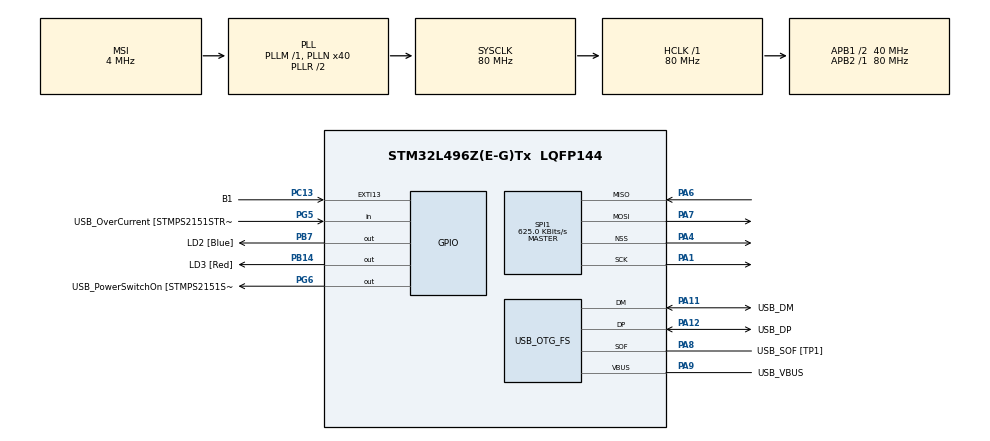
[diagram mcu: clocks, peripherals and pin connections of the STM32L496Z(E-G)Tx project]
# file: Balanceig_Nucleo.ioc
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Mcu.Family=STM32L4
Mcu.Name=STM32L496Z(E-G)Tx
Mcu.Package=LQFP144
NVIC.PriorityGroup=NVIC_PRIORITYGROUP_4
PA1.Mode=Full_Duplex_Master
PA1.Signal=SPI1_SCK
PA10.GPIO_Label=USB_ID
PA10.Signal=USB_OTG_FS_ID
PA11.GPIO_Label=USB_DM
PA11.Mode=Device_Only
PA11.Signal=USB_OTG_FS_DM
PA12.GPIO_Label=USB_DP
PA12.Mode=Device_Only
PA12.Signal=USB_OTG_FS_DP
PA13\ (JTMS/SWDIO).GPIO_Label=TMS
PA13\ (JTMS/SWDIO).Mode=Trace_Asynchronous_SW
PA13\ (JTMS/SWDIO).Signal=SYS_JTMS-SWDIO
PA14\ (JTCK/SWCLK).GPIO_Label=TCK
PA14\ (JTCK/SWCLK).Mode=Trace_Asynchronous_SW
PA14\ (JTCK/SWCLK).Signal=SYS_JTCK-SWCLK
PA4.Mode=NSS_Signal_Hard_Output
PA4.Signal=SPI1_NSS
PA6.Mode=Full_Duplex_Master
PA6.Signal=SPI1_MISO
PA7.Mode=Full_Duplex_Master
PA7.Signal=SPI1_MOSI
PA8.GPIO_Label=USB_SOF [TP1]
PA8.Mode=Activate_SOF_FS
PA8.Signal=USB_OTG_FS_SOF
PA9.GPIO_Label=USB_VBUS
PA9.Mode=Activate_VBUS
PA9.Signal=USB_OTG_FS_VBUS
PB14.GPIO_Label=LD3 [Red]
PB14.Signal=GPIO_Output
PB3\ (JTDO/TRACESWO).GPIO_Label=SWO
PB3\ (JTDO/TRACESWO).Mode=Trace_Asynchronous_SW
PB3\ (JTDO/TRACESWO).Signal=SYS_JTDO-SWO
PB7.GPIO_Label=LD2 [Blue]
PB7.Signal=GPIO_Output
PC13.GPIO_Label=B1
PC13.Signal=GPXTI13
PC14-OSC32_IN\ (PC14).Mode=LSE-External-Oscillator
PC14-OSC32_IN\ (PC14).Signal=RCC_OSC32_IN
PC15-OSC32_OUT\ (PC15).Mode=LSE-External-Oscillator
PC15-OSC32_OUT\ (PC15).Signal=RCC_OSC32_OUT
PG5.GPIO_Label=USB_OverCurrent [STMPS2151STR_FAULT]
PG5.Signal=GPIO_Input
PG6.GPIO_Label=USB_PowerSwitchOn [STMPS2151STR_EN]
PG6.Signal=GPIO_Output
PG7.GPIO_Label=STLK_RX [STM32F103CBT6_PA3]
PG7.Signal=LPUART1_TX
PG8.GPIO_Label=STLK_TX [STM32F103CBT6_PA2]
PG8.Signal=LPUART1_RX
PH1-OSC_OUT\ (PH1).Signal=RCC_OSC_OUT
ProjectManager.HeapSize=0x200
ProjectManager.StackSize=0x400
ProjectManager.TargetToolchain=STM32CubeIDE
RCC.48MHZClocksFreq_Value=24000000
RCC.ADCFreq_Value=48000000
RCC.AHBFreq_Value=80000000
RCC.APB1CLKDivider=RCC_HCLK_DIV2
RCC.APB1Freq_Value=40000000
RCC.APB1TimFreq_Value=80000000
RCC.APB2Freq_Value=80000000
RCC.APB2TimFreq_Value=80000000
RCC.CortexFreq_Value=80000000
RCC.HCLKFreq_Value=80000000
RCC.HSE_VALUE=8000000
RCC.HSI48_VALUE=48000000
RCC.HSI_VALUE=16000000
RCC.MSI_VALUE=4000000
RCC.PLLMUL=RCC_PLL_MUL9
RCC.PLLN=40
RCC.PLLSAI1N=24
RCC.PRESCALERUSB=RCC_USBCLKSOURCE_PLL_DIV1_5
RCC.SYSCLKFreq_VALUE=80000000
RCC.SYSCLKSource=RCC_SYSCLKSOURCE_PLLCLK
RCC.SYSCLKSourceVirtual=RCC_SYSCLKSOURCE_PLLCLK
RCC.USBFreq_Value=48000000
RCC.VCOOutputFreq_Value=160000000
SPI1.BaudRatePrescaler=SPI_BAUDRATEPRESCALER_128
SPI1.CalculateBaudRate=625.0 KBits/s
SPI1.DataSize=SPI_DATASIZE_8BIT
SPI1.Direction=SPI_DIRECTION_2LINES
SPI1.Mode=SPI_MODE_MASTER
SPI1.VirtualNSS=VM_NSSHARD
SPI1.VirtualType=VM_MASTER
TIM1.Prescaler=80-1
USB_OTG_FS.VirtualMode=Device_Only
VP_TIM1_VS_ClockSourceINT.Mode=Internal
board=NUCLEO-L496ZG

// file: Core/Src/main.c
/* USER CODE BEGIN Header */
/**
  ******************************************************************************
  * @file           : main.c
  * @brief          : Main program body
  ******************************************************************************
  * @attention
  *
  * Copyright (c) 2024 STMicroelectronics.
  * All rights reserved.
  *
  * This software is licensed under terms that can be found in the LICENSE file
  * in the root directory of this software component.
  * If no LICENSE file comes with this software, it is provided AS-IS.
  *
  ******************************************************************************
  */
/* USER CODE END Header */
#include "main.h"

/* USER CODE BEGIN Includes */
#include "LTC6811-1_eTechRacing.h"
#include "eTechRacing.h"
#include <stdio.h>
#include <stdlib.h>
/* USER CODE END Includes */

SPI_HandleTypeDef hspi1;

TIM_HandleTypeDef htim1;

PCD_HandleTypeDef hpcd_USB_OTG_FS;

void SystemClock_Config(void);
static void MX_GPIO_Init(void);
static void MX_USB_OTG_FS_PCD_Init(void);
static void MX_SPI1_Init(void);
static void MX_TIM1_Init(void);

/* USER CODE BEGIN 0 */

//WRITE FUNCTIONS
uint8_t CHG = 001;								// Which GPIOS are converted: 000 -> GPIO1-5; 001 -> GPIO1; 010 -> GPIO2; 011 -> GPIO3; 100 -> GPIO4; 101 -> GPIO5
uint8_t REG_VOLT = 0; 							// Controls which cell voltage register is read back: 0 -> All Cell registers; 1 -> A; 2 -> B; 3 -> C; 4 -> D
uint8_t REG_TEMP = 1; 							// Controls which cell voltage register is read back: 0 -> All Cell registers; 1 -> A; 2 -> B; 3 -> C; 4 -> D
uint8_t **config;								// A two dimensional array with the cells configurations
uint8_t **PWM;									// A two dimensional array with the PWM configurations
uint8_t PEC_ERROR = 0;							// PEC ERROR, set on 0. If PEC_ERROR == 1 -> BMS_ERROR = 1
uint8_t BYTES_IN_REG = 6;						// Bytes in each register

//TIMER
uint16_t DELAY_SLEEP = 711;						// Delay between messages of the Wakeup_sleep function

//BALANCING
uint16_t VCELL_MIN = 4120;						// Variable
uint16_t V_MIN = 4050;							// Constant
uint16_t V_BALANCING = 4195;					// Constant
uint8_t DIFF_MAX = 2;							// Constant

// READ BACK FUNCTIONS
uint16_t cell_codes[ICn][CELL_CHANNELS];		// A two dimensional array of the read voltages
uint16_t aux_codes[ICn][AUX_CHANNELS];			// A two dimensional array of the parsed gpio voltage codes

/* USER CODE END 0 */

int main(void)
{
  /* USER CODE BEGIN 1 */
	wakeup_sleep(hspi1, htim1, ICn, DELAY_SLEEP);
	PWM = set_pwm(ICn);
	ltc6811_wrpwm(ICn, PWM, hspi1, htim1);
	int *DCC = Balancing(V_MIN, VCELL_MIN, cell_codes, V_BALANCING, DIFF_MAX, ICn);
	config = set_cfgr(ICn, BYTES_IN_REG, DCC);
  /* USER CODE END 1 */

  /* MCU Configuration--------------------------------------------------------*/

  /* Reset of all peripherals, Initializes the Flash interface and the Systick. */
  HAL_Init();

  /* Configure the system clock */
  SystemClock_Config();

  /* Initialize all configured peripherals */
  MX_GPIO_Init();
  MX_USB_OTG_FS_PCD_Init();
  MX_SPI1_Init();
  MX_TIM1_Init();

  /* Infinite loop */
  /* USER CODE BEGIN WHILE */

while (1)
  {
		int *DCC = Balancing(V_MIN, VCELL_MIN, cell_codes, V_BALANCING, DIFF_MAX, ICn);
		config = set_cfgr(ICn, BYTES_IN_REG, DCC);
		ltc6811_wrcfg(ICn, config, hspi1, htim1);
		ltc6811_adcv(MD_1, DCP_1, CH_1,hspi1);
		PEC_ERROR = ltc6811_rdcv(REG_VOLT, ICn, cell_codes,hspi1, htim1);
		ltc6811_wrcfg(ICn,config,hspi1, htim1);
	 	ltc6811_adax(MD_1,CHG,hspi1);
	  	PEC_ERROR = ltc6811_rdaux(REG_TEMP, ICn, aux_codes, hspi1, htim1);
    /* USER CODE END WHILE */

  }
}

void SystemClock_Config(void)
{
  RCC_OscInitTypeDef RCC_OscInitStruct = {0};
  RCC_ClkInitTypeDef RCC_ClkInitStruct = {0};

  /** Configure the main internal regulator output voltage
  */
  if (HAL_PWREx_ControlVoltageScaling(PWR_REGULATOR_VOLTAGE_SCALE1) != HAL_OK)
  {
    Error_Handler();
  }

  /** Configure LSE Drive Capability
  */
  HAL_PWR_EnableBkUpAccess();
  __HAL_RCC_LSEDRIVE_CONFIG(RCC_LSEDRIVE_LOW);

  /** Initializes the RCC Oscillators according to the specified parameters
  * in the RCC_OscInitTypeDef structure.
  */
  RCC_OscInitStruct.OscillatorType = RCC_OSCILLATORTYPE_LSE|RCC_OSCILLATORTYPE_MSI;
  RCC_OscInitStruct.LSEState = RCC_LSE_ON;
  RCC_OscInitStruct.MSIState = RCC_MSI_ON;
  RCC_OscInitStruct.MSICalibrationValue = 0;
  RCC_OscInitStruct.MSIClockRange = RCC_MSIRANGE_6;
  RCC_OscInitStruct.PLL.PLLState = RCC_PLL_ON;
  RCC_OscInitStruct.PLL.PLLSource = RCC_PLLSOURCE_MSI;
  RCC_OscInitStruct.PLL.PLLM = 1;
  RCC_OscInitStruct.PLL.PLLN = 40;
  RCC_OscInitStruct.PLL.PLLP = RCC_PLLP_DIV2;
  RCC_OscInitStruct.PLL.PLLQ = RCC_PLLQ_DIV2;
  RCC_OscInitStruct.PLL.PLLR = RCC_PLLR_DIV2;
  if (HAL_RCC_OscConfig(&RCC_OscInitStruct) != HAL_OK)
  {
    Error_Handler();
  }

  /** Initializes the CPU, AHB and APB buses clocks
  */
  RCC_ClkInitStruct.ClockType = RCC_CLOCKTYPE_HCLK|RCC_CLOCKTYPE_SYSCLK
                              |RCC_CLOCKTYPE_PCLK1|RCC_CLOCKTYPE_PCLK2;
  RCC_ClkInitStruct.SYSCLKSource = RCC_SYSCLKSOURCE_PLLCLK;
  RCC_ClkInitStruct.AHBCLKDivider = RCC_SYSCLK_DIV1;
  RCC_ClkInitStruct.APB1CLKDivider = RCC_HCLK_DIV2;
  RCC_ClkInitStruct.APB2CLKDivider = RCC_HCLK_DIV1;

  if (HAL_RCC_ClockConfig(&RCC_ClkInitStruct, FLASH_LATENCY_4) != HAL_OK)
  {
    Error_Handler();
  }

  /** Enable MSI Auto calibration
  */
  HAL_RCCEx_EnableMSIPLLMode();
}

static void MX_SPI1_Init(void)
{

  /* SPI1 parameter configuration*/
  hspi1.Instance = SPI1;
  hspi1.Init.Mode = SPI_MODE_MASTER;
  hspi1.Init.Direction = SPI_DIRECTION_2LINES;
  hspi1.Init.DataSize = SPI_DATASIZE_8BIT;
  hspi1.Init.CLKPolarity = SPI_POLARITY_LOW;
  hspi1.Init.CLKPhase = SPI_PHASE_1EDGE;
  hspi1.Init.NSS = SPI_NSS_HARD_OUTPUT;
  hspi1.Init.BaudRatePrescaler = SPI_BAUDRATEPRESCALER_128;
  hspi1.Init.FirstBit = SPI_FIRSTBIT_MSB;
  hspi1.Init.TIMode = SPI_TIMODE_DISABLE;
  hspi1.Init.CRCCalculation = SPI_CRCCALCULATION_DISABLE;
  hspi1.Init.CRCPolynomial = 7;
  hspi1.Init.CRCLength = SPI_CRC_LENGTH_DATASIZE;
  hspi1.Init.NSSPMode = SPI_NSS_PULSE_ENABLE;
  if (HAL_SPI_Init(&hspi1) != HAL_OK)
  {
    Error_Handler();
  }

}

static void MX_TIM1_Init(void)
{

  TIM_ClockConfigTypeDef sClockSourceConfig = {0};
  TIM_MasterConfigTypeDef sMasterConfig = {0};

  htim1.Instance = TIM1;
  htim1.Init.Prescaler = 80-1;
  htim1.Init.CounterMode = TIM_COUNTERMODE_UP;
  htim1.Init.Period = 65535;
  htim1.Init.ClockDivision = TIM_CLOCKDIVISION_DIV1;
  htim1.Init.RepetitionCounter = 0;
  htim1.Init.AutoReloadPreload = TIM_AUTORELOAD_PRELOAD_DISABLE;
  if (HAL_TIM_Base_Init(&htim1) != HAL_OK)
  {
    Error_Handler();
  }
  sClockSourceConfig.ClockSource = TIM_CLOCKSOURCE_INTERNAL;
  if (HAL_TIM_ConfigClockSource(&htim1, &sClockSourceConfig) != HAL_OK)
  {
    Error_Handler();
  }
  sMasterConfig.MasterOutputTrigger = TIM_TRGO_RESET;
  sMasterConfig.MasterOutputTrigger2 = TIM_TRGO2_RESET;
  sMasterConfig.MasterSlaveMode = TIM_MASTERSLAVEMODE_DISABLE;
  if (HAL_TIMEx_MasterConfigSynchronization(&htim1, &sMasterConfig) != HAL_OK)
  {
    Error_Handler();
  }

}

static void MX_USB_OTG_FS_PCD_Init(void)
{

  hpcd_USB_OTG_FS.Instance = USB_OTG_FS;
  hpcd_USB_OTG_FS.Init.dev_endpoints = 6;
  hpcd_USB_OTG_FS.Init.speed = PCD_SPEED_FULL;
  hpcd_USB_OTG_FS.Init.phy_itface = PCD_PHY_EMBEDDED;
  hpcd_USB_OTG_FS.Init.Sof_enable = ENABLE;
  hpcd_USB_OTG_FS.Init.low_power_enable = DISABLE;
  hpcd_USB_OTG_FS.Init.lpm_enable = DISABLE;
  hpcd_USB_OTG_FS.Init.battery_charging_enable = ENABLE;
  hpcd_USB_OTG_FS.Init.use_dedicated_ep1 = DISABLE;
  hpcd_USB_OTG_FS.Init.vbus_sensing_enable = ENABLE;
  if (HAL_PCD_Init(&hpcd_USB_OTG_FS) != HAL_OK)
  {
    Error_Handler();
  }

}

static void MX_GPIO_Init(void)
{
  GPIO_InitTypeDef GPIO_InitStruct = {0};

  /* GPIO Ports Clock Enable */
  __HAL_RCC_GPIOC_CLK_ENABLE();
  __HAL_RCC_GPIOH_CLK_ENABLE();
  __HAL_RCC_GPIOA_CLK_ENABLE();
  __HAL_RCC_GPIOB_CLK_ENABLE();
  __HAL_RCC_GPIOG_CLK_ENABLE();
  HAL_PWREx_EnableVddIO2();

  /*Configure GPIO pin Output Level */
  HAL_GPIO_WritePin(GPIOB, LD3_Pin|LD2_Pin, GPIO_PIN_RESET);

  /*Configure GPIO pin Output Level */
  HAL_GPIO_WritePin(USB_PowerSwitchOn_GPIO_Port, USB_PowerSwitchOn_Pin, GPIO_PIN_RESET);

  /*Configure GPIO pin : B1_Pin */
  GPIO_InitStruct.Pin = B1_Pin;
  GPIO_InitStruct.Mode = GPIO_MODE_IT_RISING;
  GPIO_InitStruct.Pull = GPIO_NOPULL;
  HAL_GPIO_Init(B1_GPIO_Port, &GPIO_InitStruct);

  /*Configure GPIO pins : LD3_Pin LD2_Pin */
  GPIO_InitStruct.Pin = LD3_Pin|LD2_Pin;
  GPIO_InitStruct.Mode = GPIO_MODE_OUTPUT_PP;
  GPIO_InitStruct.Pull = GPIO_NOPULL;
  GPIO_InitStruct.Speed = GPIO_SPEED_FREQ_LOW;
  HAL_GPIO_Init(GPIOB, &GPIO_InitStruct);

  /*Configure GPIO pin : USB_OverCurrent_Pin */
  GPIO_InitStruct.Pin = USB_OverCurrent_Pin;
  GPIO_InitStruct.Mode = GPIO_MODE_INPUT;
  GPIO_InitStruct.Pull = GPIO_NOPULL;
  HAL_GPIO_Init(USB_OverCurrent_GPIO_Port, &GPIO_InitStruct);

  /*Configure GPIO pin : USB_PowerSwitchOn_Pin */
  GPIO_InitStruct.Pin = USB_PowerSwitchOn_Pin;
  GPIO_InitStruct.Mode = GPIO_MODE_OUTPUT_PP;
  GPIO_InitStruct.Pull = GPIO_NOPULL;
  GPIO_InitStruct.Speed = GPIO_SPEED_FREQ_LOW;
  HAL_GPIO_Init(USB_PowerSwitchOn_GPIO_Port, &GPIO_InitStruct);

  /*Configure GPIO pins : STLK_RX_Pin STLK_TX_Pin */
  GPIO_InitStruct.Pin = STLK_RX_Pin|STLK_TX_Pin;
  GPIO_InitStruct.Mode = GPIO_MODE_AF_PP;
  GPIO_InitStruct.Pull = GPIO_NOPULL;
  GPIO_InitStruct.Speed = GPIO_SPEED_FREQ_VERY_HIGH;
  GPIO_InitStruct.Alternate = GPIO_AF8_LPUART1;
  HAL_GPIO_Init(GPIOG, &GPIO_InitStruct);

}

void Error_Handler(void)
{
  __disable_irq();
  while (1)
  {
  }
}
